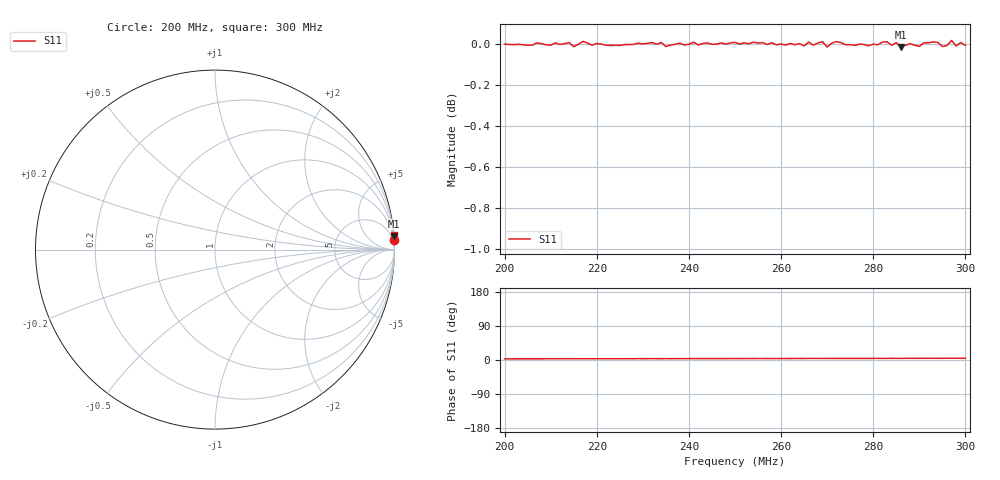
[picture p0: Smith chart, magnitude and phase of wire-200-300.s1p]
# HZ S RI R 50
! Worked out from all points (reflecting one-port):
!   101 points, 200 MHz to 300 MHz, reference 50 ohm
!   lowest |S11| = 0.0 dB at 286 MHz (marker M1)
!   phase of S11 starts at 3 deg and turns +1 deg over the sweep
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2e8  0.9983 0.0543
2.13e8  0.9984 0.058
2.25e8  0.9972 0.0608
2.26e8  0.9978 0.0588
2.29e8  0.9983 0.0636
2.36e8  0.9974 0.0612
2.38e8  0.9983 0.0632
2.45e8  0.9976 0.0639
2.5e8  0.9984 0.0681
2.51e8  0.9978 0.0654
2.52e8  0.9981 0.0683
2.61e8  0.9969 0.068
2.63e8  0.9969 0.0707
2.65e8  0.9964 0.0691
2.66e8  0.9984 0.0721
2.7e8  0.9957 0.0713
2.72e8  0.9986 0.072
2.75e8  0.9968 0.074
2.83e8  0.9983 0.0753
2.86e8  0.9952 0.076
2.88e8  0.9969 0.0787
2.9e8  0.9956 0.0764
2.93e8  0.9979 0.0791
2.95e8  0.9955 0.0773
2.96e8  0.9958 0.0802
2.97e8  0.9986 0.0801
2.98e8  0.9955 0.0803
3e8  0.9959 0.0801
